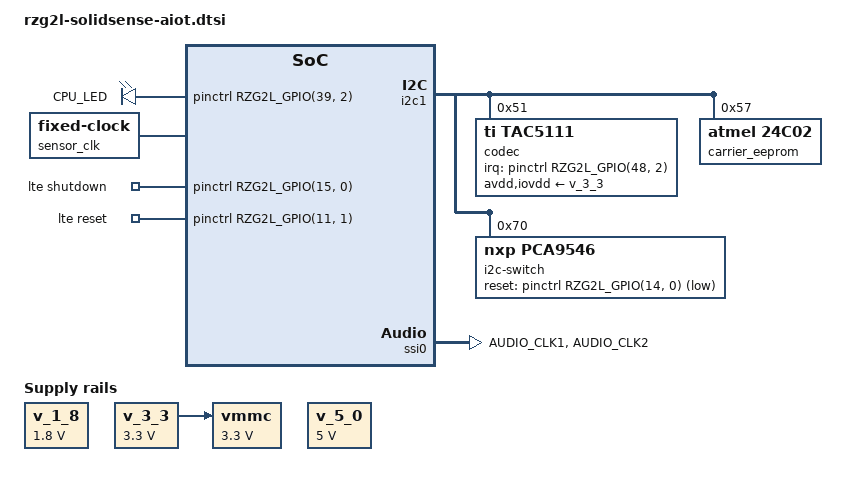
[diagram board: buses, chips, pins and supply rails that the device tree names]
// SPDX-License-Identifier: (GPL-2.0-only OR BSD-2-Clause)
/*
 * Device Tree Source for the SolidRun SolidSense AIOT carrier, as
 * populated with an RZ/G2L-family SoM (rzg2l-sr-som.dtsi). Shared by the
 * RZ/G2L (r9a07g044l2) and RZ/V2L (r9a07g054l2) board files.
 *
 * Copyright 2025 SolidRun Ltd.
 */

#include <dt-bindings/leds/common.h>

/ {
	leds {
		compatible = "gpio-leds";

		/* CPU_LED -> RZ/G2L P39_2 */
		cpu_led {
			label = "CPU_LED";
			gpios = <&pinctrl RZG2L_GPIO(39, 2) GPIO_ACTIVE_HIGH>;
			default-state = "on";
		};
	};

	/* Carrier rails. &v_1_8 is referenced by the Flash Card overlay. */
	v_1_8: regulator-1-8 {
		compatible = "regulator-fixed";
		regulator-name = "1v8";
		regulator-min-microvolt = <1800000>;
		regulator-max-microvolt = <1800000>;
		regulator-always-on;
	};

	v_3_3: regulator-3-3 {
		compatible = "regulator-fixed";
		regulator-name = "3v3";
		regulator-min-microvolt = <3300000>;
		regulator-max-microvolt = <3300000>;
		regulator-always-on;
	};

	v_5_0: regulator-5-0 {
		compatible = "regulator-fixed";
		regulator-name = "5v0";
		regulator-min-microvolt = <5000000>;
		regulator-max-microvolt = <5000000>;
		regulator-always-on;
	};

	/*
	 * microSD (SD2 net) power rail. Required so the SolidRun U-Boot
	 * "sd_overlay" (rzg2l-solidrun-sd-overlay) can resolve &vmmc and
	 * switch the SoM sdhi0 mux to the connector-side microSD; without it
	 * the overlay apply fails (FDT_ERR_NOTFOUND) and sdhi0 stays in
	 * on-SoM eMMC mode. Kept always-on (the carrier rail is enabled in
	 * U-Boot already); add an enable gpio here if the assembly gates it.
	 */
	vmmc: regulator-mmc {
		compatible = "regulator-fixed";
		regulator-name = "vmmc";
		vin-supply = <&v_3_3>;
		regulator-min-microvolt = <3300000>;
		regulator-max-microvolt = <3300000>;
		regulator-always-on;
		regulator-boot-on;
	};

	/* Fixed 24 MHz reference for the MIPI-CSI camera (carrier OSC1). */
	sensor_clk: sensor-clk {
		compatible = "fixed-clock";
		#clock-cells = <0>;
		clock-frequency = <24000000>;
	};

	/*
	 * LTE modem (Sequans GC02S1) power/reset via rfkill-gpio (the VLP
	 * rfkill-gpio driver already carries the of_match_table).
	 * shutdown-gpios = LTE_PWR  -> P15_0 : unblocked -> powered.
	 * reset-gpios    = LTE_RSTN -> P11_1 : unblocked -> out of reset.
	 */
	rfkill_lte: rfkill-lte {
		compatible = "rfkill-gpio";
		label = "lte";
		radio-type = "wwan";
		shutdown-gpios = <&pinctrl RZG2L_GPIO(15, 0) GPIO_ACTIVE_HIGH>;
		reset-gpios = <&pinctrl RZG2L_GPIO(11, 1) GPIO_ACTIVE_HIGH>;
		status = "okay";
	};

	/*
	 * TAC5111 (playback) -> PAM8302 -> speaker, over SSI0.
	 */
	sound_card: sound {
		compatible = "simple-audio-card";
		simple-audio-card,name = "solidsense-aiot";
		simple-audio-card,format = "i2s";
		simple-audio-card,bitclock-master = <&cpu_dai>;
		simple-audio-card,frame-master = <&cpu_dai>;
		simple-audio-card,mclk-fs = <256>;

		cpu_dai: simple-audio-card,cpu {
			sound-dai = <&ssi0>;
		};

		codec_dai: simple-audio-card,codec {
			sound-dai = <&codec>;
		};
	};
};

/* Carrier AUD_CLK oscillators feeding the SoC AUDIO_CLK1/2 inputs. */
&audio_clk1 {
	clock-frequency = <24576000>;	/* VERIFY: 48 kHz family AUD_CLK */
};

&audio_clk2 {
	clock-frequency = <22579200>;	/* VERIFY: 44.1 kHz family AUD_CLK */
};

/*
 * Peripherals the SoM brings up but the AIOT carrier does not route:
 *   - both RGMII Ethernet ports (neither is wired off the SoM)
 *   - the DU/DSI display pipeline (no HDMI/display output)
 * Disable the MACs (not just the PHYs) so the ravb driver does not probe
 * and fail to reach a disabled PHY. Some of these already default to
 * disabled in the SoC dtsi; disable them explicitly to document intent and
 * stay robust against base-DTS changes.
 */
&eth0 {
	status = "disabled";
};

&eth1 {
	status = "disabled";
};

&du {
	status = "disabled";
};

&dsi {
	status = "disabled";
};

&pinctrl {
	/* External audio master clock inputs (carrier AUD_CLK). */
	sound_clk_pins: sound-clk {
		pins = "AUDIO_CLK1", "AUDIO_CLK2";
		input-enable;
	};

	/* SSI0 full-duplex: BCK/RCK/TXD/RXD (carrier SA2_* audio nets). */
	ssi0_pins: ssi0 {
		pinmux = <RZG2L_PORT_PINMUX(45, 0, 1)>, /* BCK  */
			 <RZG2L_PORT_PINMUX(45, 1, 1)>, /* RCK  */
			 <RZG2L_PORT_PINMUX(45, 2, 1)>, /* TXD  */
			 <RZG2L_PORT_PINMUX(45, 3, 1)>; /* RXD  */
	};
};

/* Carrier I2C ("I2C2" net) == RZ/G2L RIIC1 (&i2c1); shared with SoM EEPROM@0x50. */
&i2c1 {
	status = "okay";

	/*
	 * TAC5111 codec, playback-only (OUT1 -> PAM8302). CCLK on GPI1 from
	 * carrier AUD_CLK; codec IRQ (AUDIO_INT) -> P48_2. Strapped to 0x51
	 * (R109 = 4.7k on ADDR pin) to avoid the SoM EEPROM at 0x50.
	 */
	codec: audio-codec@51 {
		compatible = "ti,tac5111";
		reg = <0x51>;
		status = "okay";

		#sound-dai-cells = <0>;

		interrupts-extended = <&pinctrl RZG2L_GPIO(48, 2) IRQ_TYPE_EDGE_FALLING>;

		avdd-supply = <&v_3_3>;
		iovdd-supply = <&v_3_3>;

		/* GPIO1: PDM data in, GPIO2: PDM clk out, GPO1: IRQ out */
		ti,gpios-func = <1>, <4>, <3>;
		ti,pdm-input-pins = <1>, <0>;
		/* GPI1 configured as CCLK input (carrier AUD_CLK) */
		ti,gpi1-func = <2>;
		ti,vref = <0>;
		ti,micbias-vg = <3>;
		ti,gpios-drive = <0>, <1>, <3>;
		ti,gpa-gpio = <0>;
		ti,gpa-threshold = <75>, <186>;
	};

	carrier_eeprom: eeprom@57 {
		compatible = "atmel,24c02";
		reg = <0x57>;
	};

	/*
	 * TCA9546 camera I2C switch. reset = I2C_RST -> P14_0.
	 * Channel 0 -> J8 (CAM0). Channel 1 (J17/CAM1) is unusable on the
	 * RZ/G2L family (single CSI2), so only channel 0 is exposed.
	 */
	i2c-switch@70 {
		compatible = "nxp,pca9546";
		reg = <0x70>;
		#address-cells = <1>;
		#size-cells = <0>;
		reset-gpios = <&pinctrl RZG2L_GPIO(14, 0) GPIO_ACTIVE_LOW>;

		i2c_csi0: i2c@0 {
			#address-cells = <1>;
			#size-cells = <0>;
			reg = <0>;
		};
	};
};

/* SSI0 is bit-clock/frame master, clocked from the external AUDIO_CLK1. */
&ssi0 {
	pinctrl-0 = <&ssi0_pins>, <&sound_clk_pins>;
	pinctrl-names = "default";
	status = "okay";
};
